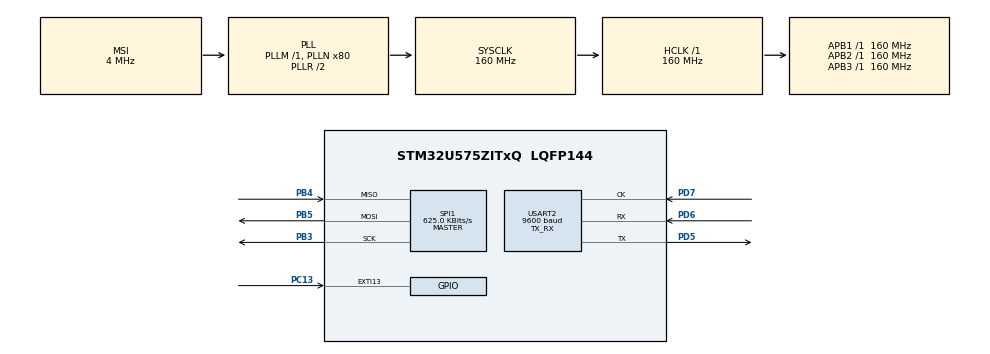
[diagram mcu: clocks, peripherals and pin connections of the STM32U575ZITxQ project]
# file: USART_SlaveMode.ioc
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CORTEX_M33_NS.userName=CORTEX_M33
Mcu.Family=STM32U5
Mcu.Name=STM32U575ZITxQ
Mcu.Package=LQFP144
NVIC.PriorityGroup=NVIC_PRIORITYGROUP_4
PB3\ (JTDO/TRACESWO).GPIO_PuPd=GPIO_NOPULL
PB3\ (JTDO/TRACESWO).GPIO_Speed=GPIO_SPEED_FREQ_VERY_HIGH
PB3\ (JTDO/TRACESWO).Mode=Full_Duplex_Master
PB3\ (JTDO/TRACESWO).Signal=SPI1_SCK
PB4\ (NJTRST).GPIO_PuPd=GPIO_NOPULL
PB4\ (NJTRST).GPIO_Speed=GPIO_SPEED_FREQ_VERY_HIGH
PB4\ (NJTRST).Mode=Full_Duplex_Master
PB4\ (NJTRST).Signal=SPI1_MISO
PB5.GPIO_PuPd=GPIO_NOPULL
PB5.GPIO_Speed=GPIO_SPEED_FREQ_VERY_HIGH
PB5.Mode=Full_Duplex_Master
PB5.Signal=SPI1_MOSI
PC13.Signal=GPXTI13
PD5.GPIO_PuPd=GPIO_NOPULL
PD5.GPIO_Speed=GPIO_SPEED_FREQ_VERY_HIGH
PD5.Mode=Synchronous Slave
PD5.Signal=USART2_TX
PD6.GPIO_PuPd=GPIO_NOPULL
PD6.GPIO_Speed=GPIO_SPEED_FREQ_VERY_HIGH
PD6.Mode=Synchronous Slave
PD6.Signal=USART2_RX
PD7.GPIO_PuPd=GPIO_NOPULL
PD7.GPIO_Speed=GPIO_SPEED_FREQ_VERY_HIGH
PD7.Mode=Synchronous Slave
PD7.Signal=USART2_CK
PWR.PowerMode=PWR_SMPS_SUPPLY
ProjectManager.HeapSize=0x200
ProjectManager.StackSize=0x400
ProjectManager.TargetToolchain=EWARM V8.50
RCC.ADCFreq_Value=16000000
RCC.AHBFreq_Value=160000000
RCC.APB1Freq_Value=160000000
RCC.APB1TimFreq_Value=160000000
RCC.APB2Freq_Value=160000000
RCC.APB2TimFreq_Value=160000000
RCC.APB3Freq_Value=160000000
RCC.CortexFreq_Value=160000000
RCC.DACCLockSelectionVirtual=RCC_DAC1CLKSOURCE_LSI
RCC.DACCLockSelectionVirtualString=RCC_DAC1CLKSOURCE_LSI
RCC.EPOD_VALUE=4000000
RCC.HCLKFreq_Value=160000000
RCC.HSE_VALUE=16000000
RCC.HSI48_VALUE=48000000
RCC.HSI_VALUE=16000000
RCC.LSE_VALUE=32768
RCC.LSIDIV_VALUE=32000
RCC.MSI_VALUE=4000000
RCC.PLLN=80
RCC.SYSCLKFreq_VALUE=160000000
RCC.SYSCLKSource=RCC_SYSCLKSOURCE_PLLCLK
RCC.USBFreq_Value=48000000
RCC.VCOOutputFreq_Value=320000000
SPI1.BaudRatePrescaler=SPI_BAUDRATEPRESCALER_256
SPI1.CLKPhase=SPI_PHASE_1EDGE
SPI1.CLKPolarity=SPI_POLARITY_LOW
SPI1.CRCCalculation=SPI_CRCCALCULATION_DISABLE
SPI1.CalculateBaudRate=625.0 KBits/s
SPI1.DataSize=SPI_DATASIZE_8BIT
SPI1.Direction=SPI_DIRECTION_2LINES
SPI1.FirstBit=SPI_FIRSTBIT_LSB
SPI1.Mode=SPI_MODE_MASTER
SPI1.NSS=SPI_NSS_SOFT
SPI1.NSSPMode=SPI_NSS_PULSE_DISABLE
SPI1.TIMode=SPI_TIMODE_DISABLE
SPI1.VirtualType=VM_MASTER
USART2.BaudRate=9600
USART2.CLKLastBit=USART_LASTBIT_ENABLE
USART2.CLKPhase=USART_PHASE_1EDGE
USART2.CLKPolarity=USART_POLARITY_LOW
USART2.ClockPrescaler=PRESCALER_DIV1
USART2.FIFOMode=FIFOMODE_DISABLE
USART2.Mode=MODE_TX_RX
USART2.NSS=USART_NSS_SOFT
USART2.Parity=PARITY_NONE
USART2.RXFIFOThreshold=RXFIFO_THRESHOLD_1EIGHTHFULL
USART2.SlaveMode=USART_SLAVEMODE_ENABLE
USART2.StopBits=STOPBITS_1
USART2.TXFIFOThreshold=TXFIFO_THRESHOLD_1EIGHTHFULL
USART2.VirtualMode-Synchronous\ Slave=VM_SYNC
USART2.WordLength=WORDLENGTH_8B
VP_ICACHE_VS_ICACHE.Mode=DirectMappedCache
VP_LPBAMQUEUE_VS_QUEUE.Mode=QUEUEMODE
VP_LPBAM_VS_SIG1.Mode=SmartRun
VP_LPBAM_VS_SIG4.Mode=LPDMA1
VP_PWR_VS_DBSignals.Mode=DisableDeadBatterySignals
VP_PWR_VS_LPOM.Mode=PowerOptimisation
VP_PWR_VS_SECSignals.Mode=Security/Privilege
VP_USART2_VNSS.Mode=Software NSS Management
board=custom

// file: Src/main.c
/* USER CODE BEGIN Header */
/**
  ******************************************************************************
  * @file    USART/USART_SlaveMode/Src/main.c
  * @author  MCD Application Team
  * @brief   This sample code shows how to use USART HAL API (USART instance)
  *          to set up a USART-SPI communication.
  *          Two boards are used, one configured as a SPI master and the second
  *          one configured as an USART slave.
  ******************************************************************************
  * @attention
  *
  * Copyright (c) 2021 STMicroelectronics.
  * All rights reserved.
  *
  * This software is licensed under terms that can be found in the LICENSE file
  * in the root directory of this software component.
  * If no LICENSE file comes with this software, it is provided AS-IS.
  *
  ******************************************************************************
  */
/* USER CODE END Header */
#include "main.h"

/* USER CODE BEGIN PD */
//#define SLAVE_BOARD
/* USER CODE END PD */

SPI_HandleTypeDef hspi1;

USART_HandleTypeDef husart2;

/* USER CODE BEGIN PV */
__IO uint32_t UserButtonStatus = 0; /* set to 1 after User Button interrupt */

/* Buffer used for transmission */
uint8_t aTxBuffer[] = " **** USART_SlaveMode ****  **** USART_SlaveMode ****  **** USART_SlaveMode **** ";

/* Buffer used for reception */
uint8_t aRxBuffer[RXBUFFERSIZE];
/* USER CODE END PV */

void SystemClock_Config(void);
static void SystemPower_Config(void);
static void MX_GPIO_Init(void);
static void MX_ICACHE_Init(void);
static void MX_SPI1_Init(void);
static void MX_USART2_Init(void);
/* USER CODE BEGIN PFP */
static uint16_t Buffercmp(uint8_t* pBuffer1, uint8_t* pBuffer2, uint16_t BufferLength);
/* USER CODE END PFP */

int main(void)
{

  /* USER CODE BEGIN 1 */
  /* STM32U5xx HAL library initialization:
       - Configure the Flash prefetch
       - Configure the Systick to generate an interrupt each 1 msec
       - Set NVIC Group Priority to 3
       - Low Level Initialization
     */
  /* USER CODE END 1 */

  /* MCU Configuration--------------------------------------------------------*/

  /* Reset of all peripherals, Initializes the Flash interface and the Systick. */
  HAL_Init();

  /* Configure the System Power */
  SystemPower_Config();

  /* Configure the system clock */
  SystemClock_Config();

  /* USER CODE BEGIN SysInit */
  /* Initialize BSP LEDs */
  BSP_LED_Init(LED1);
  BSP_LED_Init(LED3);
  /* USER CODE END SysInit */

  /* Initialize all configured peripherals */
  MX_GPIO_Init();
  MX_ICACHE_Init();
  MX_SPI1_Init();
  MX_USART2_Init();
  /* USER CODE BEGIN 2 */

#ifdef SLAVE_BOARD

  /*##-1- Start the transmission/reception process ###########################*/
  if(HAL_USART_TransmitReceive(&husart2, (uint8_t*)aTxBuffer, (uint8_t*)aRxBuffer, TXBUFFERSIZE, 0x1FFFFFF)!= HAL_OK)
  {
    Error_Handler();
  }

#else

  /*##-1- Configure the user button ##########################################*/

  /* Configure User push-button in Interrupt mode */
  BSP_PB_Init(BUTTON_USER, BUTTON_MODE_EXTI);

  /* Wait for User push-button press before starting the Communication.
     In the meantime, LED1 is blinking */
  while(UserButtonStatus == 0)
  {
    /* Toggle LED1 */
    BSP_LED_Toggle(LED1);
    HAL_Delay(100);
  }

  BSP_LED_Off(LED1);

  /*##-2- Start the transmission/reception process ###########################*/
  if(HAL_SPI_TransmitReceive(&hspi1, (uint8_t*)aTxBuffer, (uint8_t*)aRxBuffer, TXBUFFERSIZE, 5000)!= HAL_OK)
  {
    Error_Handler();
  }

#endif /* SLAVE_BOARD */

  /*##-3- Compare the sent and received buffers ##############################*/
  if(Buffercmp((uint8_t*)aTxBuffer,(uint8_t*)aRxBuffer,RXBUFFERSIZE))
  {
    Error_Handler();
  }

  /* Turn on LED1 if test passes then enter infinite loop */
  BSP_LED_On(LED1);

  /* The SPI Master board receives the message and sends it back */

  /* USER CODE END 2 */

  /* Infinite loop */
  while (1)
  {

  }
}

void SystemClock_Config(void)
{
  RCC_OscInitTypeDef RCC_OscInitStruct = {0};
  RCC_ClkInitTypeDef RCC_ClkInitStruct = {0};

  /** Configure the main internal regulator output voltage
  */
  if (HAL_PWREx_ControlVoltageScaling(PWR_REGULATOR_VOLTAGE_SCALE1) != HAL_OK)
  {
    Error_Handler();
  }

  /** Initializes the CPU, AHB and APB buses clocks
  */
  RCC_OscInitStruct.OscillatorType = RCC_OSCILLATORTYPE_MSI;
  RCC_OscInitStruct.MSIState = RCC_MSI_ON;
  RCC_OscInitStruct.MSICalibrationValue = RCC_MSICALIBRATION_DEFAULT;
  RCC_OscInitStruct.MSIClockRange = RCC_MSIRANGE_4;
  RCC_OscInitStruct.PLL.PLLState = RCC_PLL_ON;
  RCC_OscInitStruct.PLL.PLLSource = RCC_PLLSOURCE_MSI;
  RCC_OscInitStruct.PLL.PLLMBOOST = RCC_PLLMBOOST_DIV1;
  RCC_OscInitStruct.PLL.PLLM = 1;
  RCC_OscInitStruct.PLL.PLLN = 80;
  RCC_OscInitStruct.PLL.PLLP = 2;
  RCC_OscInitStruct.PLL.PLLQ = 2;
  RCC_OscInitStruct.PLL.PLLR = 2;
  RCC_OscInitStruct.PLL.PLLRGE = RCC_PLLVCIRANGE_0;
  RCC_OscInitStruct.PLL.PLLFRACN = 0;
  if (HAL_RCC_OscConfig(&RCC_OscInitStruct) != HAL_OK)
  {
    Error_Handler();
  }

  /** Initializes the CPU, AHB and APB buses clocks
  */
  RCC_ClkInitStruct.ClockType = RCC_CLOCKTYPE_HCLK|RCC_CLOCKTYPE_SYSCLK
                              |RCC_CLOCKTYPE_PCLK1|RCC_CLOCKTYPE_PCLK2
                              |RCC_CLOCKTYPE_PCLK3;
  RCC_ClkInitStruct.SYSCLKSource = RCC_SYSCLKSOURCE_PLLCLK;
  RCC_ClkInitStruct.AHBCLKDivider = RCC_SYSCLK_DIV1;
  RCC_ClkInitStruct.APB1CLKDivider = RCC_HCLK_DIV1;
  RCC_ClkInitStruct.APB2CLKDivider = RCC_HCLK_DIV1;
  RCC_ClkInitStruct.APB3CLKDivider = RCC_HCLK_DIV1;

  if (HAL_RCC_ClockConfig(&RCC_ClkInitStruct, FLASH_LATENCY_4) != HAL_OK)
  {
    Error_Handler();
  }
}

/**
  * @brief Power Configuration
  * @retval None
  */
static void SystemPower_Config(void)
{

  /*
   * Disable the internal Pull-Up in Dead Battery pins of UCPD peripheral
   */
  HAL_PWREx_DisableUCPDDeadBattery();

  /*
   * Switch to SMPS regulator instead of LDO
   */
  if (HAL_PWREx_ConfigSupply(PWR_SMPS_SUPPLY) != HAL_OK)
  {
    Error_Handler();
  }
}

static void MX_ICACHE_Init(void)
{

  /** Enable instruction cache in 1-way (direct mapped cache)
  */
  if (HAL_ICACHE_ConfigAssociativityMode(ICACHE_1WAY) != HAL_OK)
  {
    Error_Handler();
  }
  if (HAL_ICACHE_Enable() != HAL_OK)
  {
    Error_Handler();
  }

}

static void MX_SPI1_Init(void)
{

  SPI_AutonomousModeConfTypeDef HAL_SPI_AutonomousMode_Cfg_Struct = {0};

  /* SPI1 parameter configuration*/
  hspi1.Instance = SPI1;
  hspi1.Init.Mode = SPI_MODE_MASTER;
  hspi1.Init.Direction = SPI_DIRECTION_2LINES;
  hspi1.Init.DataSize = SPI_DATASIZE_8BIT;
  hspi1.Init.CLKPolarity = SPI_POLARITY_LOW;
  hspi1.Init.CLKPhase = SPI_PHASE_1EDGE;
  hspi1.Init.NSS = SPI_NSS_SOFT;
  hspi1.Init.BaudRatePrescaler = SPI_BAUDRATEPRESCALER_256;
  hspi1.Init.FirstBit = SPI_FIRSTBIT_LSB;
  hspi1.Init.TIMode = SPI_TIMODE_DISABLE;
  hspi1.Init.CRCCalculation = SPI_CRCCALCULATION_DISABLE;
  hspi1.Init.CRCPolynomial = 0x7;
  hspi1.Init.NSSPMode = SPI_NSS_PULSE_DISABLE;
  hspi1.Init.NSSPolarity = SPI_NSS_POLARITY_LOW;
  hspi1.Init.FifoThreshold = SPI_FIFO_THRESHOLD_01DATA;
  hspi1.Init.MasterSSIdleness = SPI_MASTER_SS_IDLENESS_00CYCLE;
  hspi1.Init.MasterInterDataIdleness = SPI_MASTER_INTERDATA_IDLENESS_00CYCLE;
  hspi1.Init.MasterReceiverAutoSusp = SPI_MASTER_RX_AUTOSUSP_DISABLE;
  hspi1.Init.MasterKeepIOState = SPI_MASTER_KEEP_IO_STATE_DISABLE;
  hspi1.Init.IOSwap = SPI_IO_SWAP_DISABLE;
  hspi1.Init.ReadyMasterManagement = SPI_RDY_MASTER_MANAGEMENT_INTERNALLY;
  hspi1.Init.ReadyPolarity = SPI_RDY_POLARITY_HIGH;
  if (HAL_SPI_Init(&hspi1) != HAL_OK)
  {
    Error_Handler();
  }
  HAL_SPI_AutonomousMode_Cfg_Struct.TriggerState = SPI_AUTO_MODE_DISABLE;
  HAL_SPI_AutonomousMode_Cfg_Struct.TriggerSelection = SPI_GRP1_GPDMA_CH0_TCF_TRG;
  HAL_SPI_AutonomousMode_Cfg_Struct.TriggerPolarity = SPI_TRIG_POLARITY_RISING;
  if (HAL_SPIEx_SetConfigAutonomousMode(&hspi1, &HAL_SPI_AutonomousMode_Cfg_Struct) != HAL_OK)
  {
    Error_Handler();
  }

}

static void MX_USART2_Init(void)
{

  husart2.Instance = USART2;
  husart2.Init.BaudRate = 9600;
  husart2.Init.WordLength = USART_WORDLENGTH_8B;
  husart2.Init.StopBits = USART_STOPBITS_1;
  husart2.Init.Parity = USART_PARITY_NONE;
  husart2.Init.Mode = USART_MODE_TX_RX;
  husart2.Init.CLKPolarity = USART_POLARITY_LOW;
  husart2.Init.CLKPhase = USART_PHASE_1EDGE;
  husart2.Init.CLKLastBit = USART_LASTBIT_ENABLE;
  husart2.Init.ClockPrescaler = USART_PRESCALER_DIV1;
  husart2.SlaveMode = USART_SLAVEMODE_ENABLE;
  if (HAL_USART_Init(&husart2) != HAL_OK)
  {
    Error_Handler();
  }
  if (HAL_USARTEx_SetTxFifoThreshold(&husart2, USART_TXFIFO_THRESHOLD_1_8) != HAL_OK)
  {
    Error_Handler();
  }
  if (HAL_USARTEx_SetRxFifoThreshold(&husart2, USART_RXFIFO_THRESHOLD_1_8) != HAL_OK)
  {
    Error_Handler();
  }
  if (HAL_USARTEx_ConfigNSS(&husart2, USART_NSS_SOFT) != HAL_OK)
  {
    Error_Handler();
  }
  if (HAL_USARTEx_DisableFifoMode(&husart2) != HAL_OK)
  {
    Error_Handler();
  }
  if (HAL_USARTEx_EnableSlaveMode(&husart2) != HAL_OK)
  {
    Error_Handler();
  }

}

static void MX_GPIO_Init(void)
{
  GPIO_InitTypeDef GPIO_InitStruct = {0};

  /* GPIO Ports Clock Enable */
  __HAL_RCC_GPIOC_CLK_ENABLE();
  __HAL_RCC_GPIOD_CLK_ENABLE();
  __HAL_RCC_GPIOB_CLK_ENABLE();

  /*Configure GPIO pin : PC13 */
  GPIO_InitStruct.Pin = GPIO_PIN_13;
  GPIO_InitStruct.Mode = GPIO_MODE_IT_RISING;
  GPIO_InitStruct.Pull = GPIO_NOPULL;
  HAL_GPIO_Init(GPIOC, &GPIO_InitStruct);

}

/* USER CODE BEGIN 4 */
/**
  * @brief EXTI line detection callbacks
  * @param GPIO_Pin: Specifies the pins connected EXTI line
  * @retval None
  */
void HAL_GPIO_EXTI_Rising_Callback(uint16_t GPIO_Pin)
{
  if (GPIO_Pin == BUTTON_USER_PIN)
  {
    UserButtonStatus = 1;
  }
}

/**
  * @brief  Compares two buffers.
  * @param  pBuffer1, pBuffer2: buffers to be compared.
  * @param  BufferLength: buffer's length
  * @retval 0  : pBuffer1 identical to pBuffer2
  *         >0 : pBuffer1 differs from pBuffer2
  */
static uint16_t Buffercmp(uint8_t* pBuffer1, uint8_t* pBuffer2, uint16_t BufferLength)
{
  while (BufferLength--)
  {
    if ((*pBuffer1) != *pBuffer2)
    {
      return BufferLength;
    }
    pBuffer1++;
    pBuffer2++;
  }

  return 0;
}
/* USER CODE END 4 */

void Error_Handler(void)
{
  /* USER CODE BEGIN Error_Handler_Debug */
  /* User can add his own implementation to report the HAL error return state */
  while(1)
  {
    /* LED3 is blinking */
    BSP_LED_Toggle(LED3);
    HAL_Delay(500);
  }
  /* USER CODE END Error_Handler_Debug */
}
